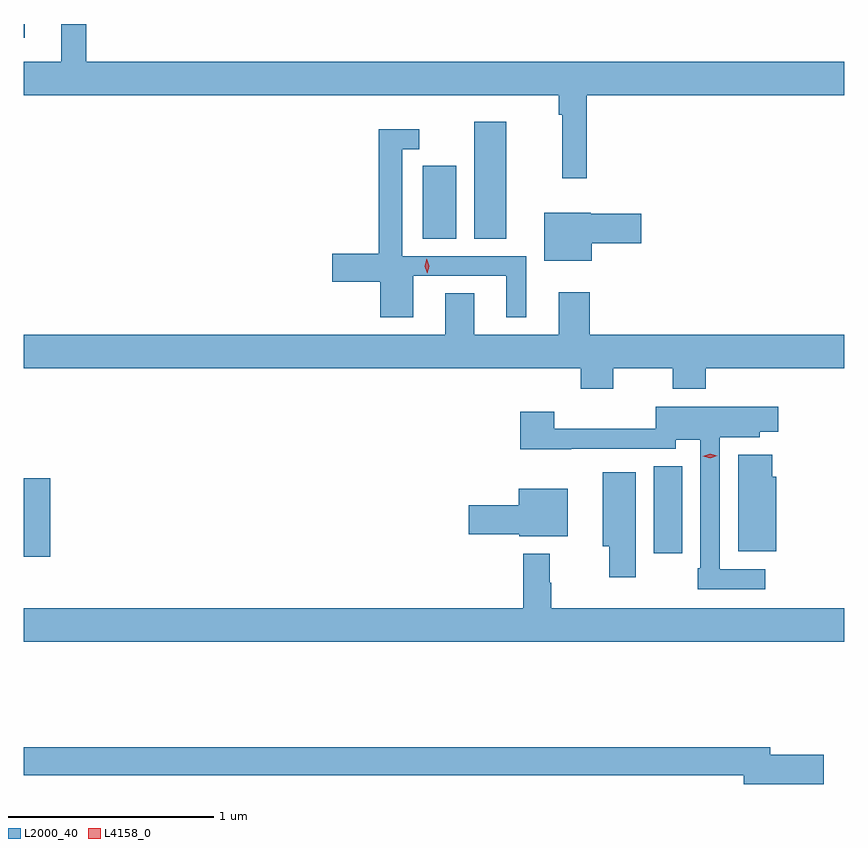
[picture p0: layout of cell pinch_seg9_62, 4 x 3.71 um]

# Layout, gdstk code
import gdstk
lib = gdstk.Library(unit=1e-6, precision=1e-09)
def R(c, l, rs):  # rectangles x0, y0, x1, y1
    for r in rs: c.add(gdstk.rectangle(r[:2], r[2:], *l))
def P(c, l, *ps):  # polygons
    for p in ps: c.add(gdstk.Polygon(p, *l))
L2000_40 = (2000, 40)
L4158_0 = (4158, 0)

pinch_seg9_62 = lib.new_cell('pinch_seg9_62')
R(pinch_seg9_62, L2000_40, [(903.314,1172.859,903.443,1173.24), (906.386,1172.874,906.523,1173.299), (905.258,1174.408,905.422,1174.765), (905.51,1174.408,905.665,1174.978), (903.314,1175.387,903.319,1175.455)])
P(pinch_seg9_62, L2000_40, [(906.059,1175.108),(907.314,1175.108),(907.314,1175.272),(903.619,1175.272),(903.619,1175.455),(903.497,1175.455),(903.497,1175.272),(903.314,1175.272),(903.314,1175.108),(905.923,1175.108),(905.923,1175.012),(905.938,1175.012),(905.938,1174.704),(906.059,1174.704)],
  [(905.212,1174.227),(905.666,1174.227),(905.666,1174.026),(905.764,1174.026),(905.764,1174.323),(905.16,1174.323),(905.16,1174.845),(905.242,1174.845),(905.242,1174.942),(905.044,1174.942),(905.044,1174.334),(904.818,1174.334),(904.818,1174.199),(905.051,1174.199),(905.051,1174.026),(905.212,1174.026)],
  [(906.082,1174.387),(906.325,1174.387),(906.325,1174.529),(906.078,1174.529),(906.078,1174.534),(905.852,1174.534),(905.852,1174.301),(906.082,1174.301)],
  [(906.189,1173.776),(906.478,1173.776),(906.478,1173.677),(906.638,1173.677),(906.638,1173.776),(907.314,1173.776),(907.314,1173.94),(906.074,1173.94),(906.074,1174.147),(905.921,1174.147),(905.921,1173.94),(905.509,1173.94),(905.509,1174.142),(905.369,1174.142),(905.369,1173.94),(903.314,1173.94),(903.314,1173.776),(906.029,1173.776),(906.029,1173.677),(906.189,1173.677)],
  [(906.928,1172.796),(906.708,1172.796),(906.708,1173.44),(906.903,1173.44),(906.903,1173.467),(906.991,1173.467),(906.991,1173.589),(906.396,1173.589),(906.396,1173.482),(905.9,1173.482),(905.9,1173.565),(905.735,1173.565),(905.735,1173.383),(905.983,1173.383),(905.983,1173.384),(906.492,1173.384),(906.492,1173.428),(906.612,1173.428),(906.612,1172.803),(906.6,1172.803),(906.6,1172.7),(906.928,1172.7)],
  [(906.982,1173.249),(906.964,1173.249),(906.964,1173.355),(906.797,1173.355),(906.797,1172.885),(906.982,1172.885)],
  [(906.298,1173.271),(906.137,1173.271),(906.137,1172.909),(906.169,1172.909),(906.169,1172.757),(906.298,1172.757)],
  [(905.965,1173.19),(905.726,1173.19),(905.726,1173.11),(905.484,1173.11),(905.484,1172.968),(905.73,1172.968),(905.73,1172.957),(905.965,1172.957)],
  [(907.314,1172.608),(905.885,1172.608),(905.885,1172.732),(905.878,1172.732),(905.878,1172.872),(905.749,1172.872),(905.749,1172.608),(903.314,1172.608),(903.314,1172.444),(907.314,1172.444)],
  [(907.213,1171.892),(906.952,1171.892),(906.952,1171.928),(903.314,1171.928),(903.314,1171.792),(906.824,1171.792),(906.824,1171.75),(907.213,1171.75)])
P(pinch_seg9_62, L4158_0, [(906.66,1173.339),(906.625,1173.348),(906.625,1173.348),(906.625,1173.348),(906.66,1173.359),(906.695,1173.35),(906.695,1173.35),(906.695,1173.35)],
  [(905.281,1174.239),(905.281,1174.239),(905.27,1174.274),(905.278,1174.311),(905.279,1174.311),(905.279,1174.311),(905.29,1174.275),(905.282,1174.239)])

lib.write_gds('pinch_seg9_62.gds')
